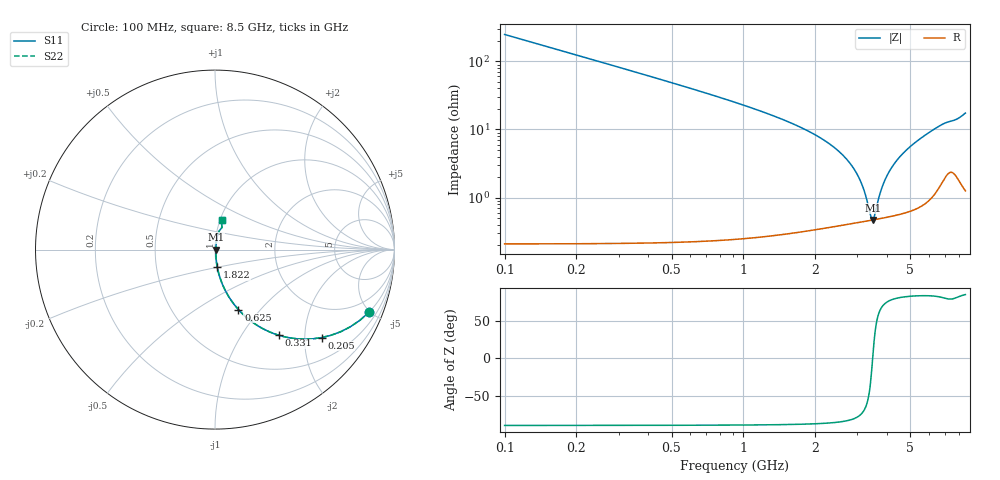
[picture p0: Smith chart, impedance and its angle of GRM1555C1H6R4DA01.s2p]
!Murata Part Number: GRM1555C1H6R4DA01
!These Parameters are Measured in Series Mode Connection
!Data Generated on Mar 30, 2021
!  o--ll--o
!Port1  Port2
!  o------o
!Operation Temp=25[degC], DC Bias Voltage=0[V]
!Freq. Start=100[MHz] Stop=9[GHz] 401[Steps]
# Hz S RI R 50
!Freq.(Hz) S11(Real) S11(Imag) S21(Real) S21(Imag) S12(Real) S12(Imag) S22(Real) S22(Imag)
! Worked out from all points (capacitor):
!   401 points, 100 MHz to 8.5 GHz, reference 50 ohm
!   read as one part in series: C = 6.4 pF near 142 MHz
!   lowest |Z| = 469 mohm at 3.481 GHz (marker M1)
!   series resonance near 3.475 GHz, so ESL is about 330 pH
!   S11 on the Smith chart (normalised r, x): 100 MHz: 1.00, -4.97; 205 MHz: 1.00, -2.42; 331 MHz: 1.00, -1.49; 625 MHz: 1.00, -0.77; 1.822 GHz: 1.01, -0.20; 8.5 GHz: 1.03, +0.35
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1e8  0.8604 -0.3462  0.1396 0.3462  0.1396 0.3462  0.8604 -0.3462
2.05e8  0.5935 -0.4903  0.4065 0.4903  0.4065 0.4903  0.5935 -0.4903
3.31e8  0.357 -0.4777  0.643 0.4777  0.643 0.4777  0.357 -0.4777
4.57e8  0.2232 -0.4144  0.7768 0.4144  0.7768 0.4144  0.2232 -0.4144
6.25e8  0.1305 -0.3339  0.8695 0.3339  0.8695 0.3339  0.1305 -0.3339
9.61e8  0.056 -0.2249  0.944 0.2249  0.944 0.2249  0.056 -0.2249
1.507e9  0.0204 -0.1308  0.9796 0.1308  0.9796 0.1308  0.0204 -0.1308
1.822e9  0.0128 -0.0974  0.9872 0.0974  0.9872 0.0974  0.0128 -0.0974
2.494e9  0.00613 -0.048  0.9939 0.048  0.9939 0.048  0.00613 -0.048
2.914e9  0.00482 -0.0253  0.9952 0.0253  0.9952 0.0253  0.00482 -0.0253
3.145e9  0.00459 -0.0143  0.9954 0.0143  0.9954 0.0143  0.00459 -0.0143
3.418e9  0.00462 -0.00239  0.9954 0.00239  0.9954 0.00239  0.00462 -0.00239
3.481e9  0.00467 0.000229  0.9953 -0.000229  0.9953 -0.000229  0.00467 0.000229
3.544e9  0.00473 0.00281  0.9953 -0.00281  0.9953 -0.00281  0.00473 0.00281
3.733e9  0.00499 0.0103  0.995 -0.0103  0.995 -0.0103  0.00499 0.0103
3.859e9  0.00522 0.0151  0.9948 -0.0151  0.9948 -0.0151  0.00522 0.0151
4.048e9  0.00565 0.0222  0.9943 -0.0222  0.9943 -0.0222  0.00565 0.0222
4.3e9  0.00638 0.0312  0.9936 -0.0312  0.9936 -0.0312  0.00638 0.0312
4.888e9  0.00874 0.0513  0.9913 -0.0513  0.9913 -0.0513  0.00874 0.0513
5.707e9  0.0141 0.0783  0.9859 -0.0783  0.9859 -0.0783  0.0141 0.0783
7.114e9  0.0356 0.1186  0.9644 -0.1186  0.9644 -0.1186  0.0356 0.1186
8.5e9  0.0407 0.1648  0.9593 -0.1648  0.9593 -0.1648  0.0407 0.1648
